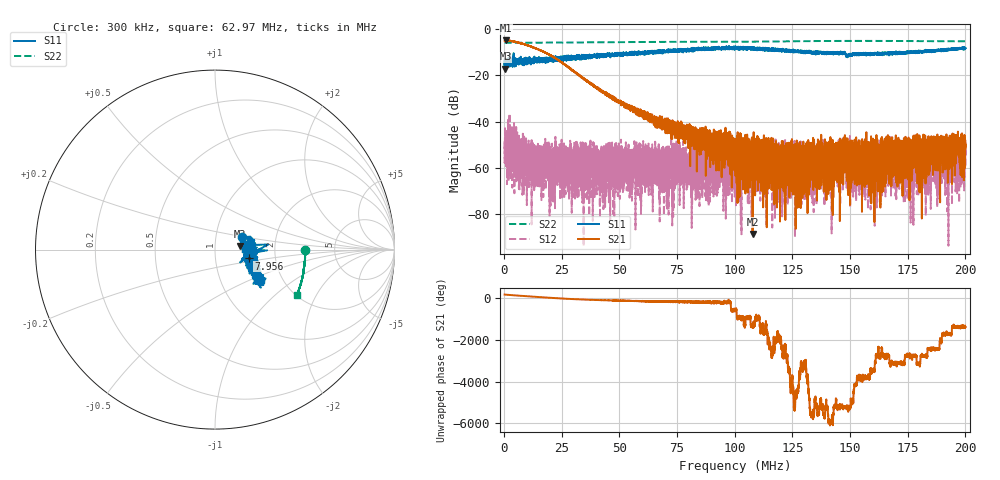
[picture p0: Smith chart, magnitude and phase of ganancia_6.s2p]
# Hz S DB R 50
! CMT, M5065, 19127446, 24.2.4/2
! Date: 11/8/2024 6:30:33 PM
! Data: Format (Calibration Info)
! Freq	S11:dB/Ang(F2)	S21:dB/Ang(F2)	S12:dB/Ang(F2)	S22:dB/Ang(F2)
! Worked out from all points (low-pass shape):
!   9000 points, 300 kHz to 200 MHz, reference 50 ohm
!   highest |S21| = -5.01 dB at 1.055 MHz (marker M1); lowest = -88.5 dB at 107.8 MHz (marker M2)
!   |S21| within 3 dB of the highest: start of sweep to 12.59 MHz; 12.61255 MHz to 12.66401 MHz (51.47 kHz wide, 0.407 % of centre)
!   lowest |S11| = -17.2 dB at 677.3 kHz (marker M3), VSWR 1.32, Z = 65.9 + j2.43 ohm
!   |S11| at or under -10 dB: start of sweep to 54.51 MHz; 141.3 MHz to 142.6 MHz (1.362 MHz wide, 0.959 % of centre); 147.6 MHz to 169.6 MHz (22.03 MHz wide, 13.9 % of centre)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
!   |S22| runs from -6.0 to -5.2 dB; largest |S21 - S12| = 0.57
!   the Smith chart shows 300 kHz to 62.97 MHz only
!   S11 on the Smith chart (normalised r, x): 300 kHz: 1.34, +0.20; 7.956 MHz: 1.45, -0.15; 62.97 MHz: 1.56, -0.58
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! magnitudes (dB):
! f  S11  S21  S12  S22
! 300 kHz  -15.5  -5.2  -50.9  -6.0
! 677.3 kHz  -17.2  -5.3  -53.7  -6.0
! 1.055 MHz  -14.3  -5.0  -49.9  -6.0
! 7.956 MHz  -14.3  -6.4  -58.0  -6.0
! 20.63 MHz  -13.1  -11.7  -52.6  -5.9
! 23.27 MHz  -12.4  -13.3  -55.2  -5.9
! 33.59 MHz  -12.3  -20.8  -53.9  -5.9
! 62.97 MHz  -10.3  -39.2  -61.3  -5.7
! 66.87 MHz  -10.0  -40.8  -56.2  -5.6
! 100.2 MHz  -8.9  -51.8  -53.3  -5.6
! 107.8 MHz  -8.5  -88.5  -75.2  -5.5
! 125.9 MHz  -10.0  -62.6  -57.7  -5.4
! 133.4 MHz  -10.0  -60.1  -59.9  -5.3
! 142.6 MHz  -10.4  -54.7  -64.5  -5.2
! 148.1 MHz  -10.7  -47.9  -52.6  -5.2
! 150.1 MHz  -10.9  -57.6  -57.4  -5.2
! 151.7 MHz  -11.0  -54.3  -53.5  -5.2
! 166.7 MHz  -10.8  -51.4  -55.1  -5.2
! 172.9 MHz  -10.0  -50.9  -54.5  -5.3
! 190.9 MHz  -9.0  -51.3  -48.0  -5.4
! 197.4 MHz  -8.2  -49.1  -55.7  -5.4
! 200 MHz  -8.3  -50.8  -52.4  -5.4
